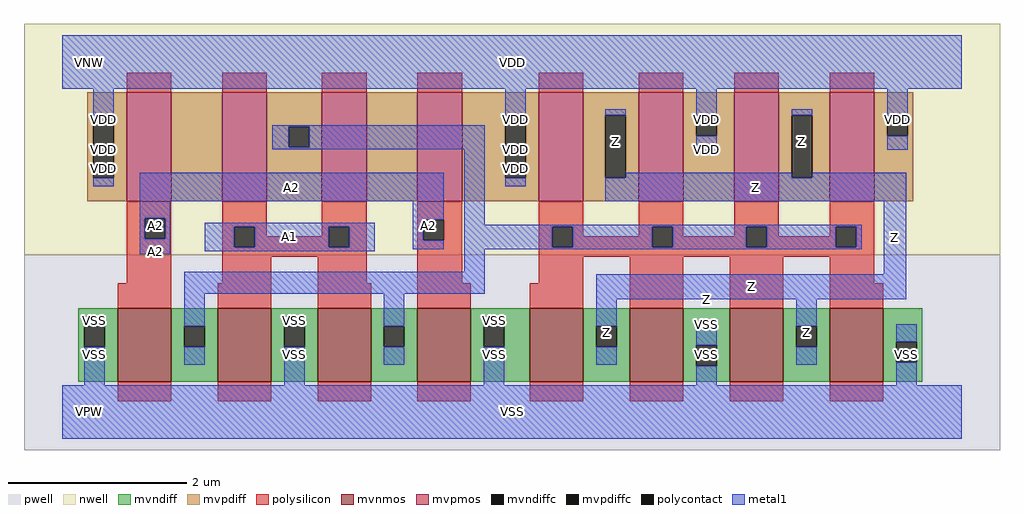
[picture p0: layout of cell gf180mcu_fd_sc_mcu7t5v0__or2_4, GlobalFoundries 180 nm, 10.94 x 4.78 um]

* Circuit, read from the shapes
.subckt gf180mcu_fd_sc_mcu7t5v0__or2_4 A1 A2 Z VDD VNW VPW VSS
XM1 n1 A2 VSS VPW nfet_06v0 w=0.82u l=0.6u m=2
XM2 VSS A1 n1 VPW nfet_06v0 w=0.82u l=0.6u m=2
XM3 Z n1 VSS VPW nfet_06v0 w=0.82u l=0.6u m=4
XM4 n2 A2 VDD VNW pfet_06v0 w=1.22u l=0.5u
XM5 n1 A1 n2 VNW pfet_06v0 w=1.22u l=0.5u
XM6 n3 A1 n1 VNW pfet_06v0 w=1.22u l=0.5u
XM7 VDD A2 n3 VNW pfet_06v0 w=1.22u l=0.5u
XM8 Z n1 VDD VNW pfet_06v0 w=1.22u l=0.5u m=4
.ends

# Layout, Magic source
magic
tech gf180mcuD
magscale 1 10
<< nwell >>
rect -86 352 2102 870
<< pwell >>
rect -86 -86 2102 352
<< mvnmos >>
rect 124 68 244 232
rect 348 68 468 232
rect 572 68 692 232
rect 796 68 916 232
rect 1048 68 1168 232
rect 1272 68 1392 232
rect 1496 68 1616 232
rect 1720 68 1840 232
<< mvpmos >>
rect 144 472 244 716
rect 358 472 458 716
rect 582 472 682 716
rect 796 472 896 716
rect 1068 472 1168 716
rect 1292 472 1392 716
rect 1506 472 1606 716
rect 1720 472 1820 716
<< mvndiff >>
rect 36 192 124 232
rect 36 146 49 192
rect 95 146 124 192
rect 36 68 124 146
rect 244 192 348 232
rect 244 146 273 192
rect 319 146 348 192
rect 244 68 348 146
rect 468 192 572 232
rect 468 146 497 192
rect 543 146 572 192
rect 468 68 572 146
rect 692 192 796 232
rect 692 146 721 192
rect 767 146 796 192
rect 692 68 796 146
rect 916 192 1048 232
rect 916 146 945 192
rect 991 146 1048 192
rect 916 68 1048 146
rect 1168 192 1272 232
rect 1168 146 1197 192
rect 1243 146 1272 192
rect 1168 68 1272 146
rect 1392 149 1496 232
rect 1392 103 1421 149
rect 1467 103 1496 149
rect 1392 68 1496 103
rect 1616 192 1720 232
rect 1616 146 1645 192
rect 1691 146 1720 192
rect 1616 68 1720 146
rect 1840 157 1928 232
rect 1840 111 1869 157
rect 1915 111 1928 157
rect 1840 68 1928 111
<< mvpdiff >>
rect 56 665 144 716
rect 56 525 69 665
rect 115 525 144 665
rect 56 472 144 525
rect 244 472 358 716
rect 458 639 582 716
rect 458 593 507 639
rect 553 593 582 639
rect 458 472 582 593
rect 682 472 796 716
rect 896 665 1068 716
rect 896 525 993 665
rect 1039 525 1068 665
rect 896 472 1068 525
rect 1168 665 1292 716
rect 1168 525 1217 665
rect 1263 525 1292 665
rect 1168 472 1292 525
rect 1392 665 1506 716
rect 1392 619 1421 665
rect 1467 619 1506 665
rect 1392 472 1506 619
rect 1606 665 1720 716
rect 1606 525 1635 665
rect 1681 525 1720 665
rect 1606 472 1720 525
rect 1820 665 1908 716
rect 1820 619 1849 665
rect 1895 619 1908 665
rect 1820 472 1908 619
<< mvndiffc >>
rect 49 146 95 192
rect 273 146 319 192
rect 497 146 543 192
rect 721 146 767 192
rect 945 146 991 192
rect 1197 146 1243 192
rect 1421 103 1467 149
rect 1645 146 1691 192
rect 1869 111 1915 157
<< mvpdiffc >>
rect 69 525 115 665
rect 507 593 553 639
rect 993 525 1039 665
rect 1217 525 1263 665
rect 1421 619 1467 665
rect 1635 525 1681 665
rect 1849 619 1895 665
<< polysilicon >>
rect 144 716 244 760
rect 358 716 458 760
rect 582 716 682 760
rect 796 716 896 760
rect 1068 716 1168 760
rect 1292 716 1392 760
rect 1506 716 1606 760
rect 1720 716 1820 760
rect 144 434 244 472
rect 144 388 185 434
rect 231 388 244 434
rect 144 288 244 388
rect 358 415 458 472
rect 358 369 385 415
rect 431 394 458 415
rect 582 415 682 472
rect 582 394 597 415
rect 431 369 597 394
rect 643 369 682 415
rect 358 348 682 369
rect 358 288 468 348
rect 124 232 244 288
rect 348 232 468 288
rect 572 288 682 348
rect 796 431 896 472
rect 796 385 809 431
rect 855 385 896 431
rect 796 288 896 385
rect 1068 415 1168 472
rect 1068 369 1098 415
rect 1144 394 1168 415
rect 1292 415 1392 472
rect 1292 394 1322 415
rect 1144 369 1322 394
rect 1368 394 1392 415
rect 1506 415 1606 472
rect 1506 394 1533 415
rect 1368 369 1533 394
rect 1579 394 1606 415
rect 1720 415 1820 472
rect 1720 394 1734 415
rect 1579 369 1734 394
rect 1780 369 1820 415
rect 1068 348 1820 369
rect 1068 288 1168 348
rect 572 232 692 288
rect 796 232 916 288
rect 1048 232 1168 288
rect 1272 232 1392 348
rect 1496 232 1616 348
rect 1720 288 1820 348
rect 1720 232 1840 288
rect 124 24 244 68
rect 348 24 468 68
rect 572 24 692 68
rect 796 24 916 68
rect 1048 24 1168 68
rect 1272 24 1392 68
rect 1496 24 1616 68
rect 1720 24 1840 68
<< polycontact >>
rect 185 388 231 434
rect 385 369 431 415
rect 597 369 643 415
rect 809 385 855 431
rect 1098 369 1144 415
rect 1322 369 1368 415
rect 1533 369 1579 415
rect 1734 369 1780 415
<< metal1 >>
rect 0 724 2016 844
rect 69 665 115 724
rect 993 665 1039 724
rect 470 639 947 643
rect 470 593 507 639
rect 553 593 947 639
rect 470 589 947 593
rect 69 506 115 525
rect 174 472 855 536
rect 174 434 242 472
rect 174 388 185 434
rect 231 388 242 434
rect 786 431 855 472
rect 174 353 242 388
rect 319 415 700 424
rect 319 369 385 415
rect 431 369 597 415
rect 643 369 700 415
rect 319 360 700 369
rect 786 385 809 431
rect 786 365 855 385
rect 901 419 947 589
rect 993 506 1039 525
rect 1217 665 1263 678
rect 1421 665 1467 724
rect 1421 587 1467 619
rect 1635 665 1681 678
rect 1263 525 1635 536
rect 1849 665 1895 724
rect 1849 588 1895 619
rect 1681 525 1892 536
rect 1217 472 1892 525
rect 901 415 1792 419
rect 901 369 1098 415
rect 1144 369 1322 415
rect 1368 369 1533 415
rect 1579 369 1734 415
rect 1780 369 1792 415
rect 901 365 1792 369
rect 901 314 947 365
rect 273 265 947 314
rect 1841 308 1892 472
rect 49 192 95 214
rect 49 60 95 146
rect 273 192 319 265
rect 273 106 319 146
rect 497 192 543 214
rect 497 60 543 146
rect 721 192 767 265
rect 1197 253 1892 308
rect 1197 252 1691 253
rect 721 106 767 146
rect 945 192 991 214
rect 945 60 991 146
rect 1197 192 1243 252
rect 1197 106 1243 146
rect 1421 149 1467 197
rect 1645 192 1691 252
rect 1645 106 1691 146
rect 1869 157 1915 196
rect 1421 60 1467 103
rect 1869 60 1915 111
rect 0 -60 2016 60
<< labels >>
flabel metal1 s 0 724 2016 844 0 FreeSans 400 0 0 0 VDD
port 4 nsew power bidirectional abutment
flabel metal1 s 945 197 991 214 0 FreeSans 400 0 0 0 VSS
port 7 nsew ground bidirectional abutment
flabel metal1 s 1635 536 1681 678 0 FreeSans 400 0 0 0 Z
port 3 nsew default output
flabel metal1 s 319 360 700 424 0 FreeSans 400 0 0 0 A1
port 1 nsew default input
flabel metal1 s 174 472 855 536 0 FreeSans 400 0 0 0 A2
port 2 nsew default input
flabel nwell s 10 734 110 834 0 FreeSans 400 0 0 0 VNW
port 5 nsew power bidirectional
flabel pwell s 10 -50 110 50 0 FreeSans 400 0 0 0 VPW
port 6 nsew ground bidirectional
rlabel metal1 s 786 365 855 472 1 A2
port 2 nsew default input
rlabel metal1 s 174 365 242 472 1 A2
port 2 nsew default input
rlabel metal1 s 174 353 242 365 1 A2
port 2 nsew default input
rlabel metal1 s 1217 536 1263 678 1 Z
port 3 nsew default output
rlabel metal1 s 1217 472 1892 536 1 Z
port 3 nsew default output
rlabel metal1 s 1841 308 1892 472 1 Z
port 3 nsew default output
rlabel metal1 s 1197 253 1892 308 1 Z
port 3 nsew default output
rlabel metal1 s 1197 252 1691 253 1 Z
port 3 nsew default output
rlabel metal1 s 1645 106 1691 252 1 Z
port 3 nsew default output
rlabel metal1 s 1197 106 1243 252 1 Z
port 3 nsew default output
rlabel metal1 s 1849 588 1895 724 1 VDD
port 4 nsew power bidirectional abutment
rlabel metal1 s 1421 588 1467 724 1 VDD
port 4 nsew power bidirectional abutment
rlabel metal1 s 993 588 1039 724 1 VDD
port 4 nsew power bidirectional abutment
rlabel metal1 s 69 588 115 724 1 VDD
port 4 nsew power bidirectional abutment
rlabel metal1 s 1421 587 1467 588 1 VDD
port 4 nsew power bidirectional abutment
rlabel metal1 s 993 587 1039 588 1 VDD
port 4 nsew power bidirectional abutment
rlabel metal1 s 69 587 115 588 1 VDD
port 4 nsew power bidirectional abutment
rlabel metal1 s 993 506 1039 587 1 VDD
port 4 nsew power bidirectional abutment
rlabel metal1 s 69 506 115 587 1 VDD
port 4 nsew power bidirectional abutment
rlabel metal1 s 497 197 543 214 1 VSS
port 7 nsew ground bidirectional abutment
rlabel metal1 s 49 197 95 214 1 VSS
port 7 nsew ground bidirectional abutment
rlabel metal1 s 1421 196 1467 197 1 VSS
port 7 nsew ground bidirectional abutment
rlabel metal1 s 945 196 991 197 1 VSS
port 7 nsew ground bidirectional abutment
rlabel metal1 s 497 196 543 197 1 VSS
port 7 nsew ground bidirectional abutment
rlabel metal1 s 49 196 95 197 1 VSS
port 7 nsew ground bidirectional abutment
rlabel metal1 s 1869 60 1915 196 1 VSS
port 7 nsew ground bidirectional abutment
rlabel metal1 s 1421 60 1467 196 1 VSS
port 7 nsew ground bidirectional abutment
rlabel metal1 s 945 60 991 196 1 VSS
port 7 nsew ground bidirectional abutment
rlabel metal1 s 497 60 543 196 1 VSS
port 7 nsew ground bidirectional abutment
rlabel metal1 s 49 60 95 196 1 VSS
port 7 nsew ground bidirectional abutment
rlabel metal1 s 0 -60 2016 60 1 VSS
port 7 nsew ground bidirectional abutment
<< properties >>
string FIXED_BBOX 0 0 2016 784
string GDS_END 154884
string GDS_FILE $PDKPATH/libs.ref/gf180mcu_fd_sc_mcu7t5v0/gds/gf180mcu_fd_sc_mcu7t5v0.gds
string GDS_START 150194
string LEFclass core
string LEFsite GF018hv5v_mcu_sc7
string LEFsymmetry X Y
<< end >>
